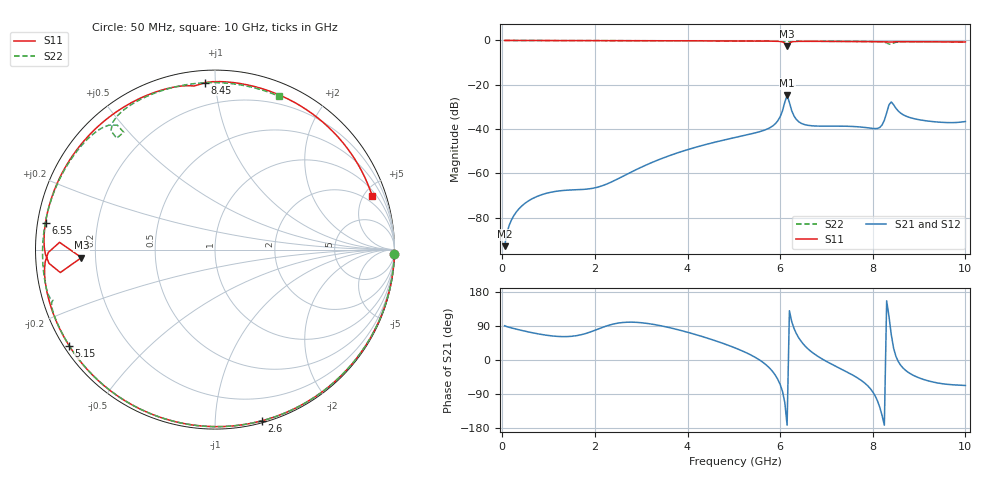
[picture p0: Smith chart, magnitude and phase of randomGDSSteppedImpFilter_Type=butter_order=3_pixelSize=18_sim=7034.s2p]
! freq	dB(S11)	phase(S11)	dB(S12)	phase(S12)
!  dB(S21)	phase(S21)	dB(S22)	phase(S22)
!S-par simulation data
#  GHz  S  DB  R 50
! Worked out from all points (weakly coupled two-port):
!   200 points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, 50 MHz to 10 GHz, reference 50 ohm
!   highest |S21| = -24.73 dB at 6.15 GHz (marker M1); lowest = -92.8 dB at 50 MHz (marker M2)
!   lowest |S11| = -2.6 dB at 6.15 GHz (marker M3), VSWR 6.85, Z = 7.3 - j1.46 ohm
!   |S11| at or under -10 dB: nowhere
!   |S22| runs from -1.6 to 0.0 dB; largest |S21 - S12| = 0
!   S11 on the Smith chart (normalised r, x): 50 MHz: 0, -78; 2.6 GHz: 0.02, -1.31; 5.15 GHz: 0.01, -0.30; 6.55 GHz: 0.02, +0.08; 8.45 GHz: 0.07, +0.94; 10 GHz: 1.37, +5.71
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0.05  -0.00 -1.5  -92.80 90.4  -92.80 90.4  -0.00 -1.4
0.2  -0.01 -5.9  -80.88 84.5  -80.88 84.5  -0.01 -5.7
0.8  -0.03 -23.4  -69.95 68.4  -69.95 68.4  -0.03 -22.5
1.75  -0.06 -50.7  -67.19 68.1  -67.19 68.1  -0.06 -48.5
2.6  -0.10 -74.6  -61.32 98.9  -61.32 98.9  -0.09 -71.2
3.4  -0.13 -96.8  -53.61 90.9  -53.61 90.9  -0.12 -91.9
5.05  -0.23 -143.6  -43.67 30.8  -43.67 30.8  -0.21 -133.9
5.15  -0.24 -146.6  -43.21 25.7  -43.21 25.7  -0.21 -136.5
5.85  -0.33 -169.3  -38.40 -32.3  -38.40 -32.3  -0.27 -154.9
6  -0.46 -175.9  -34.42 -64.5  -34.42 -64.5  -0.29 -159.0
6.1  -1.24 177.3  -27.87 -112.1  -27.87 -112.1  -0.38 -162.0
6.15  -2.55 -176.6  -24.73 -172.0  -24.73 -172.0  -0.48 -162.7
6.3  -0.49 -178.3  -34.11 83.0  -34.11 83.0  -0.32 -166.5
6.55  -0.39 170.9  -38.08 35.3  -38.08 35.3  -0.33 -173.6
6.7  -0.39 165.2  -38.52 19.3  -38.52 19.3  -0.34 -177.9
7.4  -0.46 138.2  -38.68 -28.9  -38.68 -28.9  -0.42 161.1
8.1  -0.57 108.2  -39.68 -107.4  -39.68 -107.4  -0.57 137.1
8.2  -0.60 103.7  -38.16 -145.9  -38.16 -145.9  -0.68 132.8
8.35  -0.73 97.3  -29.02 115.1  -29.02 115.1  -1.64 127.9
8.45  -0.61 93.4  -29.01 30.9  -29.01 30.9  -1.11 131.2
8.9  -0.59 71.4  -35.33 -41.9  -35.33 -41.9  -0.59 111.6
10  -0.67 18.8  -36.56 -67.2  -36.56 -67.2  -0.67 67.2
